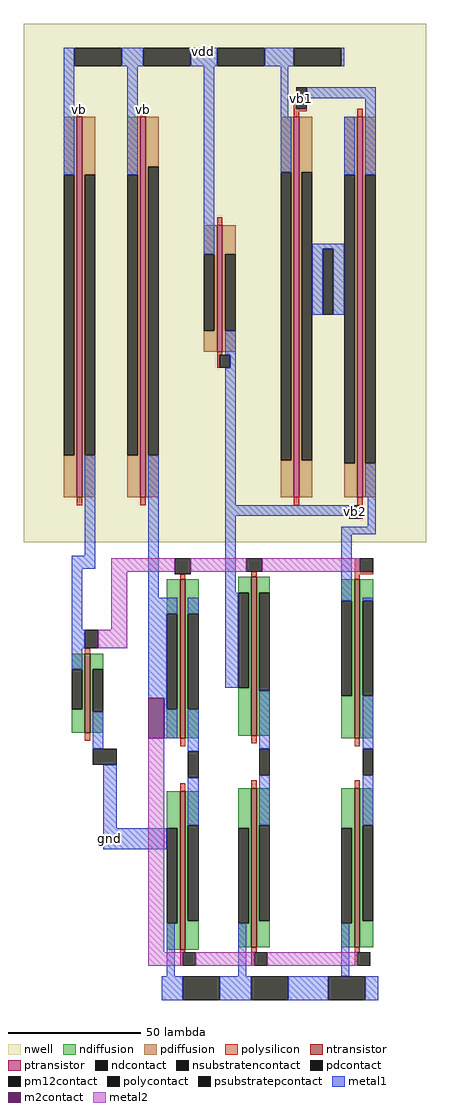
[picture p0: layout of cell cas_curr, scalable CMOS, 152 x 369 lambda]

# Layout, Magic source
magic
tech scmos
<< nwell >>
rect -38 -4 114 192
<< ntransistor >>
rect -15 -76 -13 -46
rect 21 -78 23 -18
rect 48 -77 50 -17
rect 87 -78 89 -18
rect 21 -158 23 -98
rect 48 -157 50 -97
rect 87 -157 89 -97
<< ptransistor >>
rect -18 13 -16 157
rect 6 13 8 157
rect 35 68 37 116
rect 64 13 66 157
rect 88 13 90 157
<< ndiffusion >>
rect 16 -31 21 -18
rect -20 -52 -15 -46
rect -16 -67 -15 -52
rect -20 -76 -15 -67
rect -13 -52 -8 -46
rect -13 -68 -12 -52
rect -13 -76 -8 -68
rect 20 -67 21 -31
rect 16 -78 21 -67
rect 23 -31 28 -18
rect 23 -67 24 -31
rect 23 -78 28 -67
rect 43 -23 48 -17
rect 47 -59 48 -23
rect 43 -77 48 -59
rect 50 -23 55 -17
rect 50 -60 51 -23
rect 50 -77 55 -60
rect 82 -26 87 -18
rect 86 -62 87 -26
rect 82 -78 87 -62
rect 89 -26 94 -18
rect 89 -62 90 -26
rect 89 -78 94 -62
rect 16 -112 21 -98
rect 20 -148 21 -112
rect 16 -158 21 -148
rect 23 -111 28 -98
rect 23 -147 24 -111
rect 23 -158 28 -147
rect 43 -112 48 -97
rect 47 -148 48 -112
rect 43 -157 48 -148
rect 50 -111 55 -97
rect 50 -147 51 -111
rect 50 -157 55 -147
rect 82 -112 87 -97
rect 86 -148 87 -112
rect 82 -157 87 -148
rect 89 -111 94 -97
rect 89 -147 90 -111
rect 89 -157 94 -147
<< pdiffusion >>
rect -23 135 -18 157
rect -19 29 -18 135
rect -23 13 -18 29
rect -16 135 -11 157
rect -16 29 -15 135
rect -16 13 -11 29
rect 1 135 6 157
rect 5 29 6 135
rect 1 13 6 29
rect 8 138 13 157
rect 8 29 9 138
rect 59 136 64 157
rect 30 105 35 116
rect 34 76 35 105
rect 30 68 35 76
rect 37 105 42 116
rect 37 76 38 105
rect 37 68 42 76
rect 8 13 13 29
rect 63 27 64 136
rect 59 13 64 27
rect 66 136 71 157
rect 66 27 67 136
rect 83 135 88 157
rect 66 13 71 27
rect 87 26 88 135
rect 83 13 88 26
rect 90 135 95 157
rect 90 26 91 135
rect 90 13 95 26
<< ndcontact >>
rect -20 -67 -16 -52
rect -12 -68 -8 -52
rect 16 -67 20 -31
rect 24 -67 28 -31
rect 43 -59 47 -23
rect 51 -60 55 -23
rect 82 -62 86 -26
rect 90 -62 94 -26
rect 16 -148 20 -112
rect 24 -147 28 -111
rect 43 -148 47 -112
rect 51 -147 55 -111
rect 82 -148 86 -112
rect 90 -147 94 -111
<< pdcontact >>
rect -23 29 -19 135
rect -15 29 -11 135
rect 1 29 5 135
rect 9 29 13 138
rect 30 76 34 105
rect 38 76 42 105
rect 59 27 63 136
rect 67 27 71 136
rect 83 26 87 135
rect 91 26 95 135
<< psubstratepcontact >>
rect -12 -88 -3 -82
rect 24 -93 28 -83
rect 51 -92 55 -82
rect 90 -92 94 -82
rect 22 -177 36 -168
rect 48 -177 62 -168
rect 77 -177 91 -168
<< nsubstratencontact >>
rect -19 176 -1 183
rect 7 176 25 183
rect 35 176 53 183
rect 64 176 82 183
rect 75 82 79 107
<< polysilicon >>
rect 64 160 65 164
rect -18 157 -16 160
rect 6 157 8 160
rect 64 159 69 160
rect 64 157 66 159
rect 88 157 90 160
rect 35 116 37 119
rect 35 67 37 68
rect 35 62 36 67
rect -18 10 -16 13
rect 6 10 8 13
rect 64 10 66 13
rect 88 10 90 13
rect 89 5 90 10
rect 87 -15 89 -10
rect 21 -18 23 -16
rect 48 -17 50 -15
rect 87 -16 94 -15
rect -15 -46 -13 -44
rect -15 -79 -13 -76
rect 87 -18 89 -16
rect 21 -81 23 -78
rect 48 -80 50 -77
rect 87 -81 89 -78
rect 21 -98 23 -95
rect 48 -97 50 -94
rect 87 -97 89 -94
rect 21 -159 23 -158
rect 48 -159 50 -157
rect 87 -159 89 -157
rect 21 -164 22 -159
rect 48 -164 49 -159
rect 87 -164 88 -159
<< polycontact >>
rect 65 160 69 168
rect 36 62 40 67
rect 85 5 89 10
<< metal1 >>
rect -23 135 -19 183
rect -1 176 7 183
rect 25 176 35 183
rect 53 176 64 183
rect 82 176 83 183
rect 1 135 5 176
rect 30 105 34 176
rect 59 157 62 176
rect 69 164 95 168
rect 59 136 63 157
rect 38 67 42 76
rect 40 62 42 67
rect -15 -9 -11 29
rect -20 -14 -11 -9
rect -20 -37 -16 -14
rect 9 -25 13 29
rect 38 10 42 62
rect 83 135 87 157
rect 71 107 83 109
rect 71 82 75 107
rect 79 82 83 107
rect 91 135 95 164
rect 91 13 95 26
rect 38 6 85 10
rect 38 -23 42 6
rect 92 2 95 13
rect 82 -1 95 2
rect 9 -31 20 -25
rect -20 -44 -15 -37
rect -20 -52 -16 -44
rect -12 -82 -8 -68
rect 9 -63 16 -31
rect 15 -67 16 -63
rect 15 -78 20 -67
rect 24 -31 28 -25
rect 38 -59 43 -23
rect -8 -112 -3 -88
rect 24 -83 28 -67
rect 24 -111 28 -93
rect -8 -120 16 -112
rect 51 -82 55 -60
rect 82 -26 86 -1
rect 90 -26 94 -25
rect 51 -111 55 -92
rect 90 -82 94 -62
rect 90 -111 94 -92
rect 16 -168 19 -148
rect 43 -168 46 -148
rect 82 -168 85 -148
rect 14 -177 22 -168
rect 36 -177 48 -168
rect 62 -177 77 -168
rect 91 -177 96 -168
<< m2contact >>
rect 9 -78 15 -63
<< pm12contact >>
rect 19 -16 25 -10
rect 46 -15 52 -10
rect -15 -44 -10 -37
rect 89 -15 94 -10
rect 22 -164 27 -159
rect 49 -164 54 -159
rect 88 -164 93 -159
<< metal2 >>
rect -5 -15 19 -10
rect -5 -37 1 -15
rect 25 -15 46 -10
rect 52 -15 89 -10
rect -10 -44 1 -37
rect 9 -159 15 -78
rect 9 -164 22 -159
rect 27 -164 49 -159
rect 54 -164 88 -159
<< labels >>
rlabel polysilicon -18 159 -16 160 1 vb
rlabel metal1 25 180 35 183 1 vdd
rlabel polysilicon 6 159 8 160 1 vb
rlabel polycontact 65 160 69 168 1 vb1
rlabel metal1 -8 -120 -3 -112 1 gnd
rlabel polysilicon 85 5 90 10 1 vb2
<< end >>
